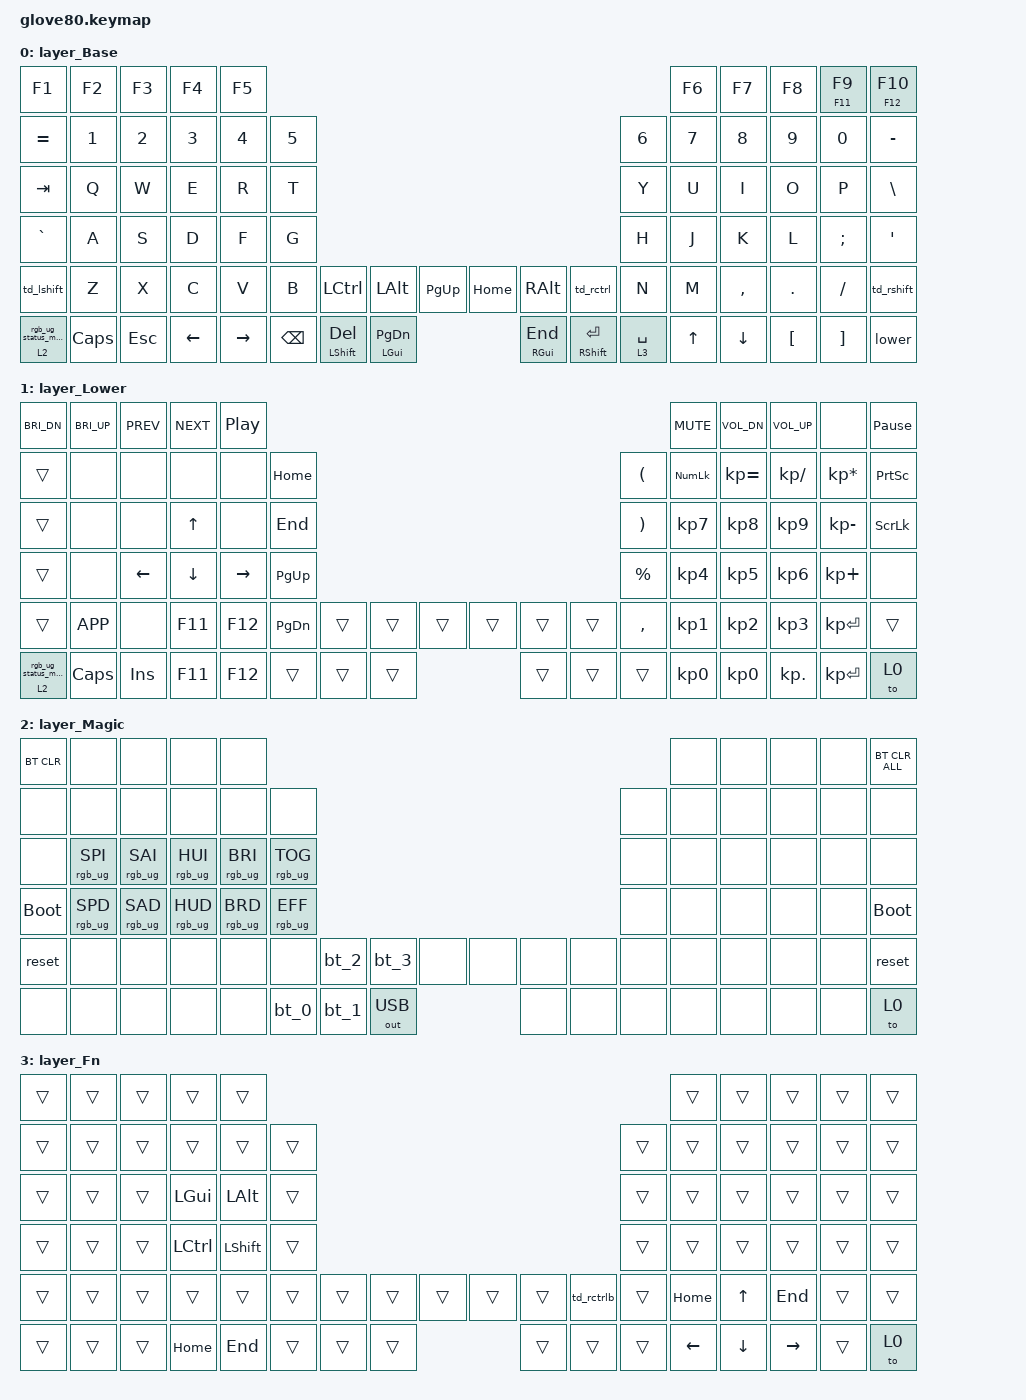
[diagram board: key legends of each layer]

/*
 * Copyright (c) 2020 The ZMK Contributors
 * Copyright (c) 2022 Innaworks Development Limited, trading as MoErgo
 *
 * SPDX-License-Identifier: MIT
 */


/* THIS FILE WAS GENERATED BY GLOVE80 LAYOUT EDITOR
 *
 * This file was generated automatically. You may or may not want to
 * edit it directly.
 */

#include <behaviors.dtsi>
/* Include all behaviour includes needed by system behaviors/macros */
#include <dt-bindings/zmk/outputs.h>

/* Include behaviour includes needed by key binds - automatically generated */
#include <dt-bindings/zmk/keys.h>
#include <dt-bindings/zmk/bt.h>
#include <dt-bindings/zmk/rgb.h>
#include <dt-bindings/zmk/outputs.h>

&mt {
    tapping-term-ms = <185>;
    quick-tap-ms = <155>;
    global-quick-tap;
};

&lt {
    tapping-term-ms = <185>;
    quick-tap-ms = <155>;
    global-quick-tap;
};



/ {
    /* Glove80 system behavior & macros */
    behaviors {
        // For the "layer" key, it'd nice to be able to use it as either a shift or a toggle.
        // Configure it as a tap dance, so the first tap (or hold) is a &mo and the second tap is a &to
        lower: tap_dance_0 {
            compatible = "zmk,behavior-tap-dance";
            label = "LAYER_TAP_DANCE";
            #binding-cells = <0>;
            tapping-term-ms = <200>;
            bindings = <&mo 1>, <&to 1>;
        };
    };
};

/ {
    macros {
        rgb_ug_status_macro: rgb_ug_status_macro_0 {
            label = "RGB_UG_STATUS";
            compatible = "zmk,behavior-macro";
            #binding-cells = <0>;
            bindings
                = <&rgb_ug RGB_STATUS>;
        };

        bt_0: bt_profile_macro_0 {
            label = "BT_0";
            compatible = "zmk,behavior-macro";
            #binding-cells = <0>;
            bindings
                = <&out OUT_BLE>,
                  <&bt BT_SEL 0>;
        };

        bt_1: bt_profile_macro_1 {
            label = "BT_1";
            compatible = "zmk,behavior-macro";
            #binding-cells = <0>;
            bindings
                = <&out OUT_BLE>,
                  <&bt BT_SEL 1>;
        };

        bt_2: bt_profile_macro_2 {
            label = "BT_2";
            compatible = "zmk,behavior-macro";
            #binding-cells = <0>;
            bindings
                = <&out OUT_BLE>,
                  <&bt BT_SEL 2>;
        };

        bt_3: bt_profile_macro_3 {
            label = "BT_3";
            compatible = "zmk,behavior-macro";
            #binding-cells = <0>;
            bindings
                = <&out OUT_BLE>,
                  <&bt BT_SEL 3>;
        };
    };
};

/ {
    magic: magic_hold_tap {
        compatible = "zmk,behavior-hold-tap";
        label = "MAGIC_HOLD_TAP";
        #binding-cells = <2>;
        flavor = "tap-preferred";
        tapping-term-ms = <200>;
        bindings = <&mo>, <&rgb_ug_status_macro>;
    };
};

    /* Custom Defined Behaviors */
/ {
    td_lshift: tap_dance_lshift {
    compatible = "zmk,behavior-tap-dance";
    label = "TAP_DANCE_LSHIFT";
    #binding-cells = <0>;
    tapping-term-ms = <250>;
    bindings = <&kp LEFT_SHIFT>, <&kp CAPS>;
};

td_rshift: tap_dance_rshift {
    compatible = "zmk,behavior-tap-dance";
    label = "TAP_DANCE_RSHIFT";
    #binding-cells = <0>;
    tapping-term-ms = <250>;
    bindings = <&kp RIGHT_SHIFT>, <&kp CAPS>;
};

td_rctrl: tap_dance_rctrl{
    compatible = "zmk,behavior-tap-dance";
    label = "TAP_DANCE_RCTRL";
    #binding-cells = <0>;
    tapping-term-ms = <200>;
    bindings = <&kp RCTRL>, <&to 3>;
};

td_rctrlb: tap_dance_rctrlb {
    compatible = "zmk,behavior-tap-dance";
    label = "TAP_DANCE_RCTRLB";
    #binding-cells = <0>;
    tapping-term-ms = <200>;
    bindings = <&kp RCTRL>, <&to 0>;
};

};

    /* Automatically generated keymap */
/ {
    keymap {
        compatible = "zmk,keymap";


        layer_Base {
            bindings = <
     &kp F1    &kp F2   &kp F3    &kp F4     &kp F5                                                                                                      &kp F6     &kp F7    &kp F8  &mt F11 F9  &mt F12 F10
  &kp EQUAL    &kp N1   &kp N2    &kp N3     &kp N4  &kp N5                                                                                      &kp N6  &kp N7     &kp N8    &kp N9      &kp N0    &kp MINUS
    &kp TAB     &kp Q    &kp W     &kp E      &kp R   &kp T                                                                                       &kp Y   &kp U      &kp I     &kp O       &kp P     &kp BSLH
  &kp GRAVE     &kp A    &kp S     &kp D      &kp F   &kp G                                                                                       &kp H   &kp J      &kp K     &kp L    &kp SEMI      &kp SQT
 &td_lshift     &kp Z    &kp X     &kp C      &kp V   &kp B  &kp LCTRL       &kp LALT       &kp PG_UP      &kp HOME       &kp RALT    &td_rctrl   &kp N   &kp M  &kp COMMA   &kp DOT    &kp FSLH   &td_rshift
 &magic 2 0  &kp CAPS  &kp ESC  &kp LEFT  &kp RIGHT           &kp BSPC  &mt LSHFT DEL  &mt LGUI PG_DN  &mt RGUI END  &mt RSHFT RET  &lt 3 SPACE          &kp UP   &kp DOWN  &kp LBKT    &kp RBKT       &lower
            >;
        };

        layer_Lower {
            bindings = <
 &kp C_BRI_DN  &kp C_BRI_UP      &kp C_PREV      &kp C_NEXT         &kp C_PP                                                                                    &kp C_MUTE  &kp C_VOL_DN  &kp C_VOL_UP            &none  &kp PAUSE_BREAK
       &trans         &none           &none           &none            &none   &kp HOME                                                   &kp LEFT_PARENTHESIS  &kp KP_NUM  &kp KP_EQUAL  &kp KP_SLASH  &kp KP_MULTIPLY  &kp PRINTSCREEN
       &trans         &none           &none    &kp UP_ARROW            &none    &kp END                                                  &kp RIGHT_PARENTHESIS   &kp KP_N7     &kp KP_N8     &kp KP_N9     &kp KP_MINUS   &kp SCROLLLOCK
       &trans         &none  &kp LEFT_ARROW  &kp DOWN_ARROW  &kp RIGHT_ARROW  &kp PG_UP                                                            &kp PERCENT   &kp KP_N4     &kp KP_N5     &kp KP_N6      &kp KP_PLUS            &none
       &trans     &kp K_APP           &none         &kp F11          &kp F12  &kp PG_DN  &trans  &trans  &trans  &trans  &trans  &trans              &kp COMMA   &kp KP_N1     &kp KP_N2     &kp KP_N3     &kp KP_ENTER           &trans
   &magic 2 0      &kp CAPS         &kp INS         &kp F11          &kp F12             &trans  &trans  &trans  &trans  &trans  &trans                          &kp KP_N0     &kp KP_N0    &kp KP_DOT     &kp KP_ENTER            &to 0
            >;
        };

        layer_Magic {
            bindings = <
  &bt BT_CLR            &none            &none            &none            &none                                                                                  &none   &none   &none   &none  &bt BT_CLR_ALL
       &none            &none            &none            &none            &none            &none                                                         &none   &none   &none   &none   &none           &none
       &none  &rgb_ug RGB_SPI  &rgb_ug RGB_SAI  &rgb_ug RGB_HUI  &rgb_ug RGB_BRI  &rgb_ug RGB_TOG                                                         &none   &none   &none   &none   &none           &none
 &bootloader  &rgb_ug RGB_SPD  &rgb_ug RGB_SAD  &rgb_ug RGB_HUD  &rgb_ug RGB_BRD  &rgb_ug RGB_EFF                                                         &none   &none   &none   &none   &none     &bootloader
      &reset            &none            &none            &none            &none            &none   &bt_2   &bt_3         &none   &none   &none   &none   &none   &none   &none   &none   &none          &reset
       &none            &none            &none            &none            &none                    &bt_0   &bt_1  &out OUT_USB   &none   &none   &none           &none   &none   &none   &none           &to 0
            >;
        };

        layer_Fn {
            bindings = <
 &trans  &trans  &trans     &trans     &trans                                                                        &trans    &trans     &trans  &trans  &trans
 &trans  &trans  &trans     &trans     &trans  &trans                                                      &trans    &trans    &trans     &trans  &trans  &trans
 &trans  &trans  &trans   &kp LGUI   &kp LALT  &trans                                                      &trans    &trans    &trans     &trans  &trans  &trans
 &trans  &trans  &trans  &kp LCTRL  &kp LSHFT  &trans                                                      &trans    &trans    &trans     &trans  &trans  &trans
 &trans  &trans  &trans     &trans     &trans  &trans  &trans  &trans  &trans  &trans  &trans  &td_rctrlb  &trans  &kp HOME    &kp UP    &kp END  &trans  &trans
 &trans  &trans  &trans   &kp HOME    &kp END          &trans  &trans  &trans  &trans  &trans      &trans          &kp LEFT  &kp DOWN  &kp RIGHT  &trans   &to 0
            >;
        };

    };
};
